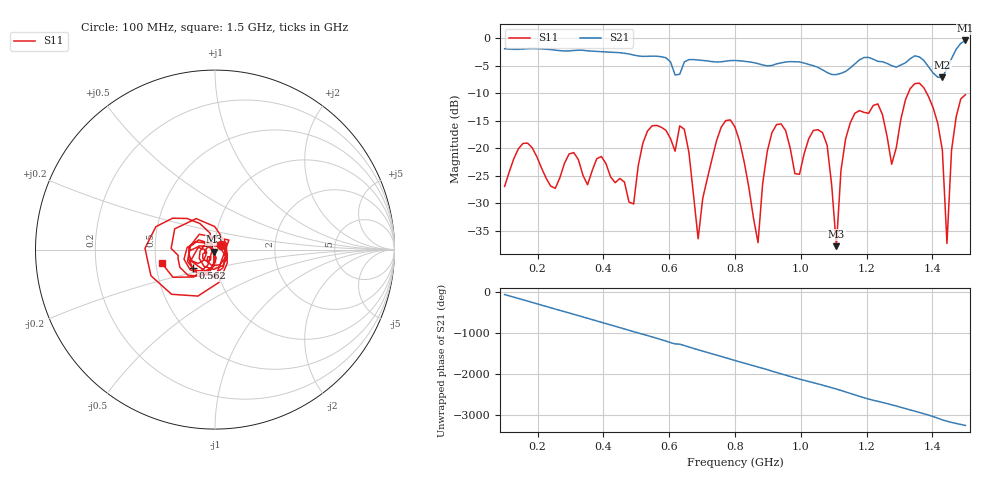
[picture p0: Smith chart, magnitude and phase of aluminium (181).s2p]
! NanoVNA-App
! Date: 2025-09-25 14:56:41
! Start: 100MHz Stop: 1,5GHz Points: 101
! S-Parameter data: F S11 S21 S12 S22
# Hz S RI R 50
!  Frequency  S11_Real  S11_Imag  S21_Real  S21_Imag  S12_Real  S12_Imag  S22_Real  S22_Imag
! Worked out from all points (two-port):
!   101 points, 100 MHz to 1.5 GHz, reference 50 ohm
!   highest |S21| = -0.42 dB at 1.5 GHz (marker M1); lowest = -7.1 dB at 1.43 GHz (marker M2)
!   |S21| within 3 dB of the highest: start of sweep to 579.1 MHz; 1.46 GHz to end of sweep (the widest 2 of 3)
!   lowest |S11| = -37.8 dB at 1.108 GHz (marker M3), VSWR 1.03, Z = 49.6 - j1.23 ohm
!   |S11| at or under -10 dB: start of sweep to 1.326 GHz; 1.382 GHz to end of sweep
!   S12 and S22 are empty: the file has one direction only
!   S11 on the Smith chart (normalised r, x): 100 MHz: 1.07, +0.06; 562 MHz: 0.76, -0.16; 1.5 GHz: 0.54, -0.09
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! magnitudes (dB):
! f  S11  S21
! 100 MHz  -26.9  -1.9
! 338 MHz  -24.9  -2.2
! 492 MHz  -30.1  -3.1
! 562 MHz  -15.9  -3.3
! 576 MHz  -16.2  -3.4
! 646 MHz  -16.6  -4.3
! 688 MHz  -36.5  -4.0
! 800 MHz  -16.2  -4.1
! 870 MHz  -37.2  -4.6
! 912 MHz  -17.2  -5.0
! 996 MHz  -24.7  -4.3
! 1.038 GHz  -16.8  -5.0
! 1.08 GHz  -19.5  -6.3
! 1.108 GHz  -37.8  -6.6
! 1.122 GHz  -24.0  -6.4
! 1.164 GHz  -13.7  -4.7
! 1.276 GHz  -22.9  -5.0
! 1.346 GHz  -8.3  -3.2
! 1.43 GHz  -20.3  -7.1
! 1.444 GHz  -37.3  -5.5
! 1.458 GHz  -20.3  -3.7
! 1.5 GHz  -10.3  -0.4
